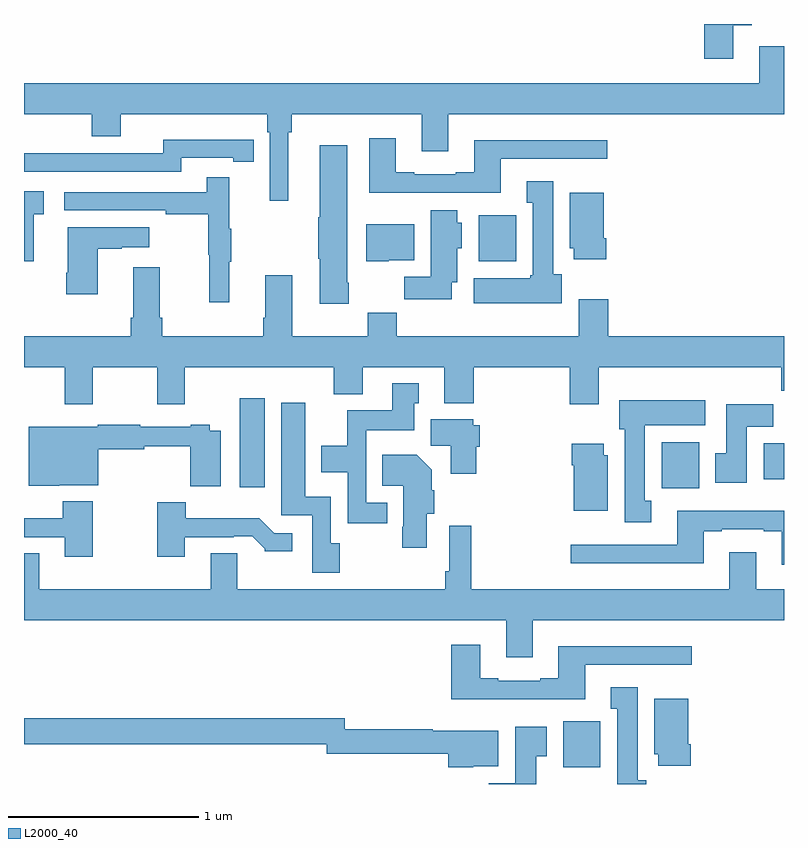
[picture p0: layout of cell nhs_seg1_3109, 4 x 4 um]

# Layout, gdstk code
import gdstk
lib = gdstk.Library(unit=1e-6, precision=1e-09)
def R(c, l, rs):  # rectangles x0, y0, x1, y1
    for r in rs: c.add(gdstk.rectangle(r[:2], r[2:], *l))
def P(c, l, *ps):  # polygons
    for p in ps: c.add(gdstk.Polygon(p, *l))
L2000_40 = (2000, 40)

nhs_seg1_3109 = lib.new_cell('nhs_seg1_3109')
R(nhs_seg1_3109, L2000_40, [(281.837,556.286,282.034,556.528), (282.356,557.756,282.553,557.998), (280.136,557.76,280.267,558.229), (282.893,557.804,283,557.992), (281.393,558.95,281.59,559.192)])
P(nhs_seg1_3109, L2000_40, [(282.733,560.193),(282.829,560.193),(282.829,560.199),(282.581,560.199),(282.581,560.016),(282.733,560.016)],
  [(280.39,559.628),(280.409,559.628),(280.409,559.724),(281.093,559.724),(281.093,559.53),(281.233,559.53),(281.233,559.724),(283,559.724),(283,560.083),(282.869,560.083),(282.869,559.888),(279,559.888),(279,559.724),(279.356,559.724),(279.356,559.607),(279.508,559.607),(279.508,559.724),(280.28,559.724),(280.28,559.628),(280.293,559.628),(280.293,559.269),(280.39,559.269)],
  [(281.049,559.311),(281.509,559.311),(281.509,559.491),(282.07,559.491),(282.07,559.588),(281.369,559.588),(281.369,559.42),(281.273,559.42),(281.273,559.407),(281.053,559.407),(281.053,559.42),(280.957,559.42),(280.957,559.597),(280.817,559.597),(280.817,559.31),(281.049,559.31)],
  [(279.828,559.494),(280.1,559.494),(280.1,559.474),(280.208,559.474),(280.208,559.59),(280.1,559.59),(280.1,559.591),(279.732,559.591),(279.732,559.518),(279.272,559.518),(279.272,559.52),(279,559.52),(279,559.422),(279.828,559.422)],
  [(280.71,558.838),(280.702,558.838),(280.702,559.561),(280.556,559.561),(280.556,559.181),(280.549,559.181),(280.549,558.964),(280.556,558.964),(280.556,558.726),(280.71,558.726)],
  [(280.079,558.947),(280.09,558.947),(280.09,559.121),(280.079,559.121),(280.079,559.393),(279.961,559.393),(279.961,559.314),(279.213,559.314),(279.213,559.218),(279.745,559.218),(279.745,559.198),(279.969,559.198),(279.969,558.984),(279.976,558.984),(279.976,558.735),(280.079,558.735)],
  [(281.83,558.882),(281.785,558.882),(281.785,559.372),(281.645,559.372),(281.645,559.259),(281.678,559.259),(281.678,558.876),(281.665,558.876),(281.665,558.862),(281.366,558.862),(281.366,558.728),(281.83,558.728)],
  [(279.05,559.197),(279.103,559.197),(279.103,559.318),(279,559.318),(279,558.951),(279.05,558.951)],
  [(282.065,559.072),(282.052,559.072),(282.052,559.312),(281.873,559.312),(281.873,559.02),(281.894,559.02),(281.894,558.96),(282.065,558.96)],
  [(281.251,558.839),(281.281,558.839),(281.281,559.02),(281.305,559.02),(281.305,559.152),(281.281,559.152),(281.281,559.219),(281.141,559.219),(281.141,558.868),(281.002,558.868),(281.002,558.75),(281.251,558.75)],
  [(280.92,558.956),(281.053,558.956),(281.053,559.144),(280.802,559.144),(280.802,558.95),(280.92,558.95)],
  [(279.388,559.015),(279.515,559.015),(279.515,559.025),(279.658,559.025),(279.658,559.129),(279.23,559.129),(279.23,558.889),(279.223,558.889),(279.223,558.777),(279.388,558.777)],
  [(279.363,558.392),(279.7,558.392),(279.7,558.198),(279.847,558.198),(279.847,558.392),(280.631,558.392),(280.631,558.251),(280.783,558.251),(280.783,558.392),(281.213,558.392),(281.213,558.203),(281.366,558.203),(281.366,558.392),(281.873,558.392),(281.873,558.198),(282.025,558.198),(282.025,558.392),(282.985,558.392),(282.985,558.268),(283,558.268),(283,558.556),(282.074,558.556),(282.074,558.751),(281.921,558.751),(281.921,558.556),(280.961,558.556),(280.961,558.68),(280.81,558.68),(280.81,558.556),(280.411,558.556),(280.411,558.877),(280.271,558.877),(280.271,558.652),(280.259,558.652),(280.259,558.556),(279.728,558.556),(279.728,558.652),(279.715,558.652),(279.715,558.919),(279.575,558.919),(279.575,558.652),(279.563,558.652),(279.563,558.556),(279,558.556),(279,558.392),(279.215,558.392),(279.215,558.198),(279.363,558.198)],
  [(280.912,557.679),(280.8,557.679),(280.8,558.062),(281.053,558.062),(281.053,558.204),(281.077,558.204),(281.077,558.307),(280.937,558.307),(280.937,558.166),(280.702,558.166),(280.702,557.98),(280.565,557.98),(280.565,557.84),(280.704,557.84),(280.704,557.572),(280.912,557.572)],
  [(282.301,557.69),(282.268,557.69),(282.268,558.086),(282.586,558.086),(282.586,558.22),(282.134,558.22),(282.134,558.066),(282.161,558.066),(282.161,557.577),(282.301,557.577)],
  [(280.662,557.466),(280.614,557.466),(280.614,557.71),(280.48,557.71),(280.48,558.205),(280.355,558.205),(280.355,557.613),(280.518,557.613),(280.518,557.31),(280.662,557.31)],
  [(282.805,558.08),(282.944,558.08),(282.944,558.199),(282.695,558.199),(282.695,557.94),(282.638,557.94),(282.638,557.784),(282.805,557.784)],
  [(281.381,557.973),(281.399,557.973),(281.399,558.087),(281.364,558.087),(281.364,558.118),(281.141,558.118),(281.141,557.98),(281.246,557.98),(281.246,557.832),(281.381,557.832)],
  [(280.036,558.058),(279.978,558.058),(279.978,558.091),(279.878,558.091),(279.878,558.078),(279.611,558.078),(279.611,558.091),(279.387,558.091),(279.387,558.079),(279.026,558.079),(279.026,557.768),(279.186,557.768),(279.186,557.771),(279.391,557.771),(279.391,557.962),(279.632,557.962),(279.632,557.977),(279.874,557.977),(279.874,557.765),(280.036,557.765)],
  [(282.073,557.928),(282.052,557.928),(282.052,557.989),(281.882,557.989),(281.882,557.876),(281.894,557.876),(281.894,557.636),(282.073,557.636)],
  [(281.119,557.622),(281.159,557.622),(281.159,557.744),(281.146,557.744),(281.146,557.854),(281.068,557.932),(280.885,557.932),(280.885,557.768),(280.997,557.768),(280.997,557.554),(280.991,557.554),(280.991,557.442),(281.119,557.442)],
  [(279.363,557.686),(279.203,557.686),(279.203,557.599),(279,557.599),(279,557.499),(279.215,557.499),(279.215,557.394),(279.363,557.394)],
  [(279.847,557.499),(280.103,557.499),(280.103,557.502),(280.202,557.502),(280.266,557.438),(280.266,557.423),(280.411,557.423),(280.411,557.52),(280.317,557.52),(280.239,557.599),(279.85,557.599),(279.85,557.683),(279.7,557.683),(279.7,557.394),(279.847,557.394)],
  [(283,557.638),(282.437,557.638),(282.437,557.457),(281.877,557.457),(281.877,557.36),(282.577,557.36),(282.577,557.529),(282.673,557.529),(282.673,557.541),(282.893,557.541),(282.893,557.529),(282.989,557.529),(282.989,557.352),(283,557.352)],
  [(281.677,557.06),(283,557.06),(283,557.224),(282.853,557.224),(282.853,557.419),(282.713,557.419),(282.713,557.224),(281.354,557.224),(281.354,557.557),(281.238,557.557),(281.238,557.32),(281.218,557.32),(281.218,557.224),(280.123,557.224),(280.123,557.414),(279.983,557.414),(279.983,557.224),(279.079,557.224),(279.079,557.414),(279,557.414),(279,557.06),(281.537,557.06),(281.537,556.866),(281.677,556.866)],
  [(281.953,556.827),(282.514,556.827),(282.514,556.924),(281.813,556.924),(281.813,556.756),(281.717,556.756),(281.717,556.743),(281.497,556.743),(281.497,556.756),(281.401,556.756),(281.401,556.933),(281.249,556.933),(281.249,556.646),(281.953,556.646)],
  [(282.274,556.218),(282.229,556.218),(282.229,556.708),(282.089,556.708),(282.089,556.595),(282.122,556.595),(282.122,556.199),(282.274,556.199)],
  [(282.509,556.408),(282.496,556.408),(282.496,556.648),(282.317,556.648),(282.317,556.356),(282.338,556.356),(282.338,556.296),(282.509,556.296)],
  [(281.364,556.292),(281.497,556.292),(281.497,556.48),(281.15,556.48),(281.15,556.487),(280.689,556.487),(280.689,556.544),(279,556.544),(279,556.408),(280.593,556.408),(280.593,556.359),(281.234,556.359),(281.234,556.286),(281.364,556.286)],
  [(281.695,556.345),(281.752,556.345),(281.752,556.501),(281.585,556.501),(281.585,556.204),(281.446,556.204),(281.446,556.199),(281.695,556.199)])

lib.write_gds('nhs_seg1_3109.gds')
